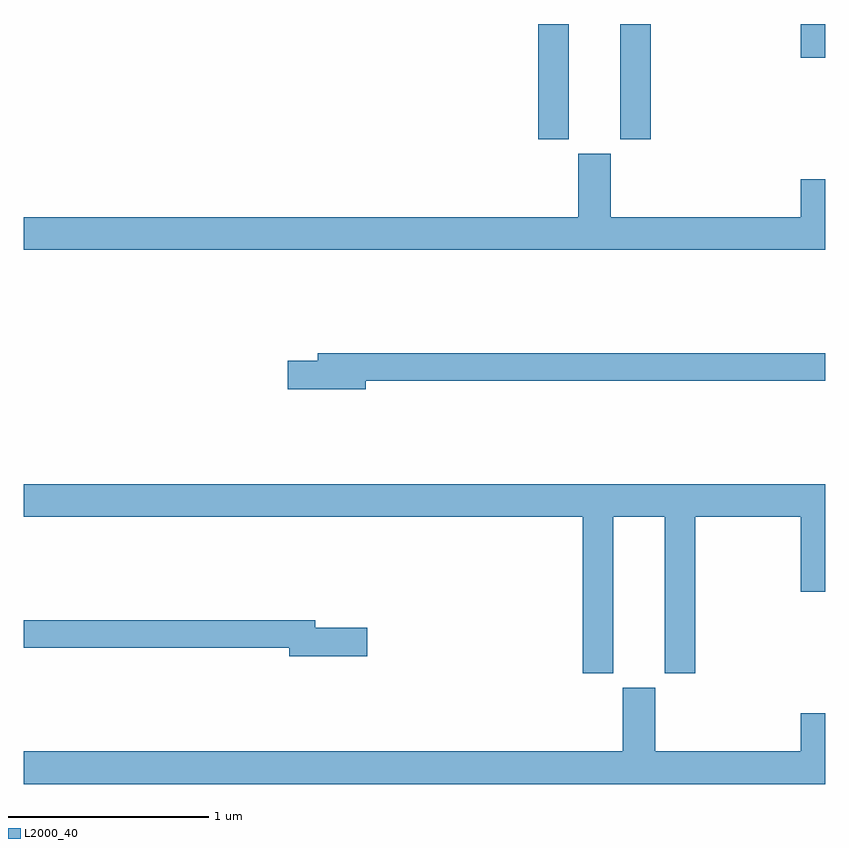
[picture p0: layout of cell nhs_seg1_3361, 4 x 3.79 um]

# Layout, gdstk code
import gdstk
lib = gdstk.Library(unit=1e-6, precision=1e-09)
def R(c, l, rs):  # rectangles x0, y0, x1, y1
    for r in rs: c.add(gdstk.rectangle(r[:2], r[2:], *l))
def P(c, l, *ps):  # polygons
    for p in ps: c.add(gdstk.Polygon(p, *l))
L2000_40 = (2000, 40)

nhs_seg1_3361 = lib.new_cell('nhs_seg1_3361')
R(nhs_seg1_3361, L2000_40, [(295.568,545.625,295.72,546.199), (295.976,545.625,296.129,546.199), (296.876,546.03,297,546.199)])
P(nhs_seg1_3361, L2000_40, [(297,545.425),(296.876,545.425),(296.876,545.236),(295.93,545.236),(295.93,545.553),(295.766,545.553),(295.766,545.236),(293,545.236),(293,545.072),(297,545.072)],
  [(294.706,544.42),(297,544.42),(297,544.556),(294.467,544.556),(294.467,544.52),(294.318,544.52),(294.318,544.378),(294.706,544.378)],
  [(295.942,543.74),(296.198,543.74),(296.198,542.961),(296.351,542.961),(296.351,543.74),(296.876,543.74),(296.876,543.366),(297,543.366),(297,543.904),(293,543.904),(293,543.74),(295.79,543.74),(295.79,542.961),(295.942,542.961)],
  [(294.715,543.188),(294.454,543.188),(294.454,543.224),(293,543.224),(293,543.088),(294.326,543.088),(294.326,543.046),(294.715,543.046)],
  [(297,542.761),(296.876,542.761),(296.876,542.572),(296.152,542.572),(296.152,542.889),(295.988,542.889),(295.988,542.572),(293,542.572),(293,542.408),(297,542.408)])

lib.write_gds('nhs_seg1_3361.gds')
